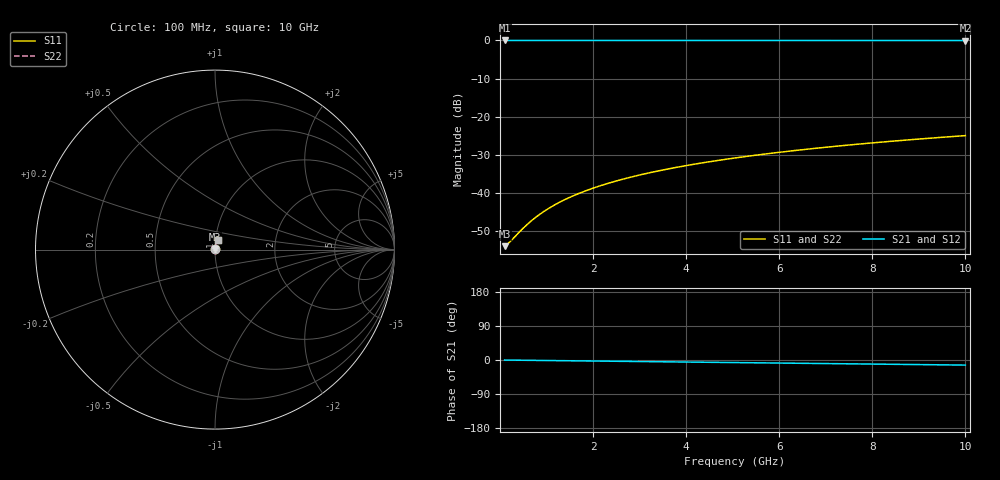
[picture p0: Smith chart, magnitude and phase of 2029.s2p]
# Hz S RI R 50.00
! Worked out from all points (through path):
!   100 points, 100 MHz to 10 GHz, reference 50 ohm
!   highest |S21| = -0.02 dB at 100 MHz (marker M1); lowest = 0.0 dB at 10 GHz (marker M2)
!   group delay of S21, straight-line fit = 3.73 ps
!   lowest |S11| = -53.9 dB at 100 MHz (marker M3), VSWR 1.00, Z = 50.2 + j0.0568 ohm
!   |S11| at or under -10 dB: start of sweep to end of sweep
!   |S22| runs from -53.9 to -25.0 dB; largest |S21 - S12| = 0
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1e8  0.00193 0.000566  0.9981 -0.00234  0.9981 -0.00234  0.00193 0.000566
2e8  0.00195 0.00113  0.998 -0.00467  0.998 -0.00467  0.00195 0.00113
5e8  0.002 0.00283  0.998 -0.0117  0.998 -0.0117  0.002 0.00283
6e8  0.00201 0.00339  0.9979 -0.014  0.9979 -0.014  0.00201 0.00339
7e8  0.00204 0.00396  0.9979 -0.0164  0.9979 -0.0164  0.00204 0.00396
9e8  0.00209 0.00509  0.9978 -0.021  0.9978 -0.021  0.00209 0.00509
1.1e9  0.00215 0.00622  0.9976 -0.0257  0.9976 -0.0257  0.00215 0.00622
1.3e9  0.00222 0.00735  0.9975 -0.0304  0.9975 -0.0304  0.00222 0.00735
1.5e9  0.0023 0.00848  0.9973 -0.035  0.9973 -0.035  0.0023 0.00848
1.8e9  0.00243 0.0102  0.997 -0.0421  0.997 -0.0421  0.00243 0.0102
2.1e9  0.0026 0.0119  0.9967 -0.0491  0.9967 -0.0491  0.0026 0.0119
2.5e9  0.00285 0.0141  0.9961 -0.0584  0.9961 -0.0584  0.00285 0.0141
2.9e9  0.00314 0.0163  0.9955 -0.0677  0.9955 -0.0677  0.00314 0.0163
3.4e9  0.00356 0.0191  0.9946 -0.0794  0.9946 -0.0794  0.00356 0.0191
3.8e9  0.00395 0.0214  0.9937 -0.0887  0.9937 -0.0887  0.00395 0.0214
4.2e9  0.00438 0.0236  0.9928 -0.098  0.9928 -0.098  0.00438 0.0236
5.1e9  0.00549 0.0285  0.9903 -0.1189  0.9903 -0.1189  0.00549 0.0285
5.9e9  0.00666 0.0329  0.9878 -0.1375  0.9878 -0.1375  0.00666 0.0329
6.7e9  0.00799 0.0372  0.9848 -0.1559  0.9848 -0.1559  0.00799 0.0372
7.5e9  0.00948 0.0415  0.9815 -0.1744  0.9815 -0.1744  0.00948 0.0415
8.4e9  0.0113 0.0462  0.9774 -0.195  0.9774 -0.195  0.0113 0.0462
1e10  0.0152 0.0544  0.9689 -0.2315  0.9689 -0.2315  0.0152 0.0544
